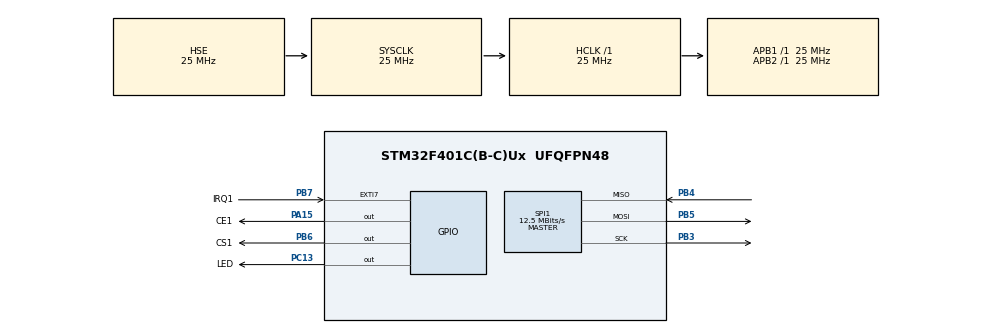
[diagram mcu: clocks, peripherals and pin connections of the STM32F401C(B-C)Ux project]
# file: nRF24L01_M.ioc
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Mcu.Family=STM32F4
Mcu.Name=STM32F401C(B-C)Ux
Mcu.Package=UFQFPN48
NVIC.PriorityGroup=NVIC_PRIORITYGROUP_4
NVIC.SPI1_IRQn=true\:0\:0\:false\:false\:true\:true\:true\:true
NVIC.TIM1_UP_TIM10_IRQn=true\:0\:0\:false\:false\:true\:true\:true\:true
PA15.GPIO_Label=CE1
PA15.Signal=GPIO_Output
PB3.Mode=Full_Duplex_Master
PB3.Signal=SPI1_SCK
PB4.Mode=Full_Duplex_Master
PB4.Signal=SPI1_MISO
PB5.Mode=Full_Duplex_Master
PB5.Signal=SPI1_MOSI
PB6.GPIO_Label=CS1
PB6.Signal=GPIO_Output
PB7.GPIO_Label=IRQ1
PB7.Signal=GPXTI7
PC13-ANTI_TAMP.GPIO_Label=LED
PC13-ANTI_TAMP.Signal=GPIO_Output
PC14-OSC32_IN.Mode=LSE-External-Oscillator
PC14-OSC32_IN.Signal=RCC_OSC32_IN
PC15-OSC32_OUT.Mode=LSE-External-Oscillator
PC15-OSC32_OUT.Signal=RCC_OSC32_OUT
PH0\ -\ OSC_IN.Mode=HSE-External-Oscillator
PH0\ -\ OSC_IN.Signal=RCC_OSC_IN
PH1\ -\ OSC_OUT.Mode=HSE-External-Oscillator
PH1\ -\ OSC_OUT.Signal=RCC_OSC_OUT
ProjectManager.HeapSize=0x200
ProjectManager.StackSize=0x400
ProjectManager.TargetToolchain=STM32CubeIDE
RCC.48MHZClocksFreq_Value=48000000
RCC.AHBFreq_Value=25000000
RCC.APB1Freq_Value=25000000
RCC.APB1TimFreq_Value=25000000
RCC.APB2Freq_Value=25000000
RCC.APB2TimFreq_Value=25000000
RCC.CortexFreq_Value=25000000
RCC.HCLKFreq_Value=25000000
RCC.HSE_VALUE=25000000
RCC.HSI_VALUE=16000000
RCC.SYSCLKFreq_VALUE=25000000
RCC.SYSCLKSource=RCC_SYSCLKSOURCE_HSE
RCC.VCOOutputFreq_Value=192000000
SPI1.CalculateBaudRate=12.5 MBits/s
SPI1.Direction=SPI_DIRECTION_2LINES
SPI1.Mode=SPI_MODE_MASTER
SPI1.VirtualType=VM_MASTER
TIM10.AutoReloadPreload=TIM_AUTORELOAD_PRELOAD_ENABLE
TIM10.Period=2500
TIM10.Prescaler=1000
VP_TIM10_VS_ClockSourceINT.Mode=Enable_Timer
board=custom

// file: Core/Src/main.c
/* USER CODE BEGIN Header */
/**
 ******************************************************************************
 * @file           : main.c
 * @brief          : Main program body
 ******************************************************************************
 * @attention
 *
 * Copyright (c) 2022 STMicroelectronics.
 * All rights reserved.
 *
 * This software is licensed under terms that can be found in the LICENSE file
 * in the root directory of this software component.
 * If no LICENSE file comes with this software, it is provided AS-IS.
 *
 ******************************************************************************
 */
/* USER CODE END Header */
#include "main.h"
#include "spi.h"
#include "tim.h"
#include "gpio.h"

/* USER CODE BEGIN Includes */
#include "tm_stm32_nrf24l01.h"
#include "defines.h"
/* USER CODE END Includes */

/* USER CODE BEGIN PV */
/* My address */
uint8_t MyAddress[] = { 0xE7, 0xE7, 0xE7, 0xE7, 0xE7 };
/* Receiver address */
uint8_t TxAddress[] = { 0x7E, 0x7E, 0x7E, 0x7E, 0x7E };

uint8_t dataOut[32], dataIn[32];
/* USER CODE END PV */

void SystemClock_Config(void);

/* USER CODE BEGIN 0 */
uint8_t timer_triggered = 0;
/* USER CODE END 0 */

int main(void) {
	/* USER CODE BEGIN 1 */
	TM_NRF24L01_Transmit_Status_t transmissionStatus;
	char str[40];

	/* USER CODE END 1 */

	/* MCU Configuration--------------------------------------------------------*/

	/* Reset of all peripherals, Initializes the Flash interface and the Systick. */
	HAL_Init();

	/* Configure the system clock */
	SystemClock_Config();

	/* Initialize all configured peripherals */
	MX_GPIO_Init();
	MX_SPI1_Init();
	MX_TIM10_Init();
	/* USER CODE BEGIN 2 */

	/* Initialize NRF24L01+ on channel 15 and 32bytes of payload */
	/* By default 2Mbps data rate and 0dBm output power */
	/* NRF24L01 goes to RX mode by default */
	TM_NRF24L01_Init(15, 32);

	/* Set 2MBps data rate and -18dBm output power */
	TM_NRF24L01_SetRF(TM_NRF24L01_DataRate_2M, TM_NRF24L01_OutputPower_M18dBm);

	/* Set my address, 5 bytes */
	TM_NRF24L01_SetMyAddress(MyAddress);
	/* Set TX address, 5 bytes */
	TM_NRF24L01_SetTxAddress(TxAddress);

	HAL_TIM_Base_Start_IT(&htim10);
	/* USER CODE END 2 */

	/* Infinite loop */
	/* USER CODE BEGIN WHILE */
	while (1) {
		if (timer_triggered >= 20) {
			timer_triggered = 0;
			/* Fill data with something */
			sprintf((uint8_t*) dataOut, "abcdefghijklmnoszxABCDEFCBDA");

			/* Display on USART */
			//TM_USART_Puts(USART1, "pinging: ");

			/* Reset time, start counting microseconds */
			DELAY_SetTime(0);
			/* Transmit data, goes automatically to TX mode */
			TM_NRF24L01_Transmit((uint8_t *)dataOut);

			/* Turn on led to indicate sending */
			LED_ON();
			/* Wait for data to be sent */
			do {
				transmissionStatus = TM_NRF24L01_GetTransmissionStatus();
			} while (transmissionStatus == TM_NRF24L01_Transmit_Status_Sending);
			/* Turn off led */
			LED_OFF();

			/* Go back to RX mode */
			TM_NRF24L01_PowerUpRx();

			/* Wait received data, wait max 100ms, if time is larger, then data were probably lost */
			while (!TM_NRF24L01_DataReady() && DELAY_Time() < 100)
				;

			/* Format time */
			sprintf(str, "%d ms", DELAY_Time());
			/* Show ping time */
			//TM_USART_Puts(USART1, str);

			/* Get data from NRF2L01+ */
			TM_NRF24L01_GetData((uint8_t *)dataIn);

			/* Check transmit status */
			if (transmissionStatus == TM_NRF24L01_Transmit_Status_Ok) {
				/* Transmit went OK */
				//TM_USART_Puts(USART1, ": OK\n");
				asm ("nop");
			} else if (transmissionStatus == TM_NRF24L01_Transmit_Status_Lost) {
				/* Message was LOST */
				//TM_USART_Puts(USART1, ": LOST\n");
				//DEBUGBKPT();
				asm ("nop");
			} else {
				/* This should never happen */
				//TM_USART_Puts(USART1, ": SENDING\n");
				DEBUGBKPT();
			}
		}
		/* USER CODE END WHILE */

	}
}

void SystemClock_Config(void) {
	RCC_OscInitTypeDef RCC_OscInitStruct = { 0 };
	RCC_ClkInitTypeDef RCC_ClkInitStruct = { 0 };

	/** Configure the main internal regulator output voltage
	 */
	__HAL_RCC_PWR_CLK_ENABLE();
	__HAL_PWR_VOLTAGESCALING_CONFIG(PWR_REGULATOR_VOLTAGE_SCALE2);

	/** Initializes the RCC Oscillators according to the specified parameters
	 * in the RCC_OscInitTypeDef structure.
	 */
	RCC_OscInitStruct.OscillatorType = RCC_OSCILLATORTYPE_HSE;
	RCC_OscInitStruct.HSEState = RCC_HSE_ON;
	RCC_OscInitStruct.PLL.PLLState = RCC_PLL_NONE;
	if (HAL_RCC_OscConfig(&RCC_OscInitStruct) != HAL_OK) {
		Error_Handler();
	}

	/** Initializes the CPU, AHB and APB buses clocks
	 */
	RCC_ClkInitStruct.ClockType = RCC_CLOCKTYPE_HCLK | RCC_CLOCKTYPE_SYSCLK
			| RCC_CLOCKTYPE_PCLK1 | RCC_CLOCKTYPE_PCLK2;
	RCC_ClkInitStruct.SYSCLKSource = RCC_SYSCLKSOURCE_HSE;
	RCC_ClkInitStruct.AHBCLKDivider = RCC_SYSCLK_DIV1;
	RCC_ClkInitStruct.APB1CLKDivider = RCC_HCLK_DIV1;
	RCC_ClkInitStruct.APB2CLKDivider = RCC_HCLK_DIV1;

	if (HAL_RCC_ClockConfig(&RCC_ClkInitStruct, FLASH_LATENCY_0) != HAL_OK) {
		Error_Handler();
	}
}

/* USER CODE BEGIN 4 */

void HAL_TIM_PeriodElapsedCallback(TIM_HandleTypeDef *htim) {
	if (htim == &htim10) {
		timer_triggered++;
	} else {
		DEBUGBKPT();
	}
}

/* USER CODE END 4 */

void Error_Handler(void) {
	__disable_irq();
	while (1) {
	}
}
